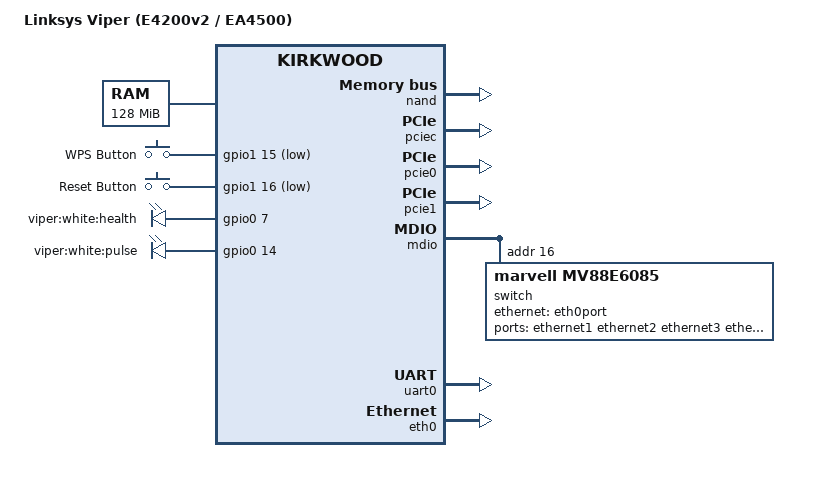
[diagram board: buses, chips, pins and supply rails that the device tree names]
/*
 * kirkwood-viper.dts - Device Tree file for Linksys viper (E4200v2 / EA4500)
 *
 * (c) 2013 Jonas Gorski <jogo@openwrt.org>
 * (c) 2013 Deutsche Telekom Innovation Laboratories
 * (c) 2014 Luka Perkov <luka@openwrt.org>
 * (c) 2014 Randy C. Will <randall.will@gmail.com>
 *
 * This file is licensed under the terms of the GNU General Public
 * License version 2.  This program is licensed "as is" without any
 * warranty of any kind, whether express or implied.
 */

/dts-v1/;

#include "kirkwood.dtsi"
#include "kirkwood-6282.dtsi"

/ {
	model = "Linksys Viper (E4200v2 / EA4500)";
	compatible = "linksys,viper", "marvell,kirkwood-88f6282", "marvell,kirkwood";

	memory {
		device_type = "memory";
		reg = <0x00000000 0x8000000>;
	};

	aliases {
		serial0 = &uart0;
	};

	chosen {
		stdout-path = "serial0:115200n8";
	};

	gpio_keys {
		compatible = "gpio-keys";
		#address-cells = <1>;
		#size-cells = <0>;
		pinctrl-0 = < &pmx_btn_wps &pmx_btn_reset >;
		pinctrl-names = "default";

		wps {
			label = "WPS Button";
			linux,code = <KEY_WPS_BUTTON>;
			gpios = <&gpio1 15 GPIO_ACTIVE_LOW>;
		};

		reset {
			label = "Reset Button";
			linux,code = <KEY_RESTART>;
			gpios = <&gpio1 16 GPIO_ACTIVE_LOW>;
		};
	};

	gpio-leds {
		compatible = "gpio-leds";
		pinctrl-0 = < &pmx_led_white_health &pmx_led_white_pulse >;
		pinctrl-names = "default";

		white-health {
			label = "viper:white:health";
			gpios = <&gpio0 7 GPIO_ACTIVE_HIGH>;
		};

		white-pulse {
			label = "viper:white:pulse";
			gpios = <&gpio0 14 GPIO_ACTIVE_HIGH>;
		};
	};

	dsa {
		status = "disabled";

		compatible = "marvell,dsa";
		#address-cells = <2>;
		#size-cells = <0>;

		dsa,ethernet = <&eth0port>;
		dsa,mii-bus = <&mdio>;

		switch@16,0 {
			#address-cells = <1>;
			#size-cells = <0>;
			reg = <16 0>;	/* MDIO address 16, switch 0 in tree */

			port@0 {
				reg = <0>;
				label = "ethernet1";
			};

			port@1 {
				reg = <1>;
				label = "ethernet2";
			};

			port@2 {
				reg = <2>;
				label = "ethernet3";
			};

			port@3 {
				reg = <3>;
				label = "ethernet4";
			};

			port@4 {
				reg = <4>;
				label = "internet";
			};

			port@5 {
				reg = <5>;
				label = "cpu";
			};
		};
	};
};

&pinctrl {
	pmx_led_white_health: pmx-led-white-health {
		marvell,pins = "mpp7";
		marvell,function = "gpo";
	};
	pmx_led_white_pulse: pmx-led-white-pulse {
		marvell,pins = "mpp14";
		marvell,function = "gpio";
	};
	pmx_btn_wps: pmx-btn-wps {
		marvell,pins = "mpp47";
		marvell,function = "gpio";
	};
	pmx_btn_reset: pmx-btn-reset {
		marvell,pins = "mpp48";
		marvell,function = "gpio";
	};
};

&nand {
	status = "okay";
	pinctrl-0 = <&pmx_nand>;
	pinctrl-names = "default";

	partitions {
		compatible = "fixed-partitions";
		#address-cells = <1>;
		#size-cells = <1>;

		partition@0 {
			label = "u-boot";
			reg = <0x0 0x80000>;
			read-only;
		};

		partition@80000 {
			label = "u_env";
			reg = <0x80000 0x20000>;
		};

		partition@A0000 {
			label = "s_env";
			reg = <0xA0000 0x20000>;
		};

		partition@200000 {
			label = "kernel";
			reg = <0x200000 0x2A0000>;
		};

		partition@4A0000 {
			label = "rootfs";
			reg = <0x4A0000 0x1760000>;
		};

		partition@1C00000 {
			label = "alt_kernel";
			reg = <0x1C00000 0x2A0000>;
		};

		partition@1EA0000 {
			label = "alt_rootfs";
			reg = <0x1EA0000 0x1760000>;
		};

		partition@3600000 {
			label = "syscfg";
			reg = <0x3600000 0x4A00000>;
		};

		partition@C0000 {
			label = "unused";
			reg = <0xC0000 0x140000>;
		};

	};
};

&pciec {
	status = "okay";
};

&pcie0 {
	status = "okay";
};

&pcie1 {
	status = "okay";
};

&mdio {
	status = "okay";

	switch@10 {
		compatible = "marvell,mv88e6085";
		#address-cells = <1>;
		#size-cells = <0>;
		reg = <16>;

		ports {
			#address-cells = <1>;
			#size-cells = <0>;

			port@0 {
				reg = <0>;
				label = "ethernet1";
			};

			port@1 {
				reg = <1>;
				label = "ethernet2";
			};

			port@2 {
				reg = <2>;
				label = "ethernet3";
			};

			port@3 {
				reg = <3>;
				label = "ethernet4";
			};

			port@4 {
				reg = <4>;
				label = "internet";
			};

			port@5 {
				reg = <5>;
				label = "cpu";
				ethernet = <&eth0port>;
				fixed-link {
					speed = <1000>;
					full-duplex;
				};
			};
		};
	};
};

&uart0 {
	status = "okay";
};

/* eth0 is connected to a Marvell 88E6171 switch, without a PHY. So set
 * fixed speed and duplex.
 */
&eth0 {
	status = "okay";
	ethernet0-port@0 {
		speed = <1000>;
		duplex = <1>;
	};
};

/* eth1 is connected to the switch at port 6. However DSA only supports a
 * single CPU port. So leave this port disabled to avoid confusion.
 */
&eth1 {
	status = "disabled";
};

/* There is no battery on the board, so the RTC does not keep
 * time when there is no power, making it useless.
 */
&rtc {
	status = "disabled";
};

